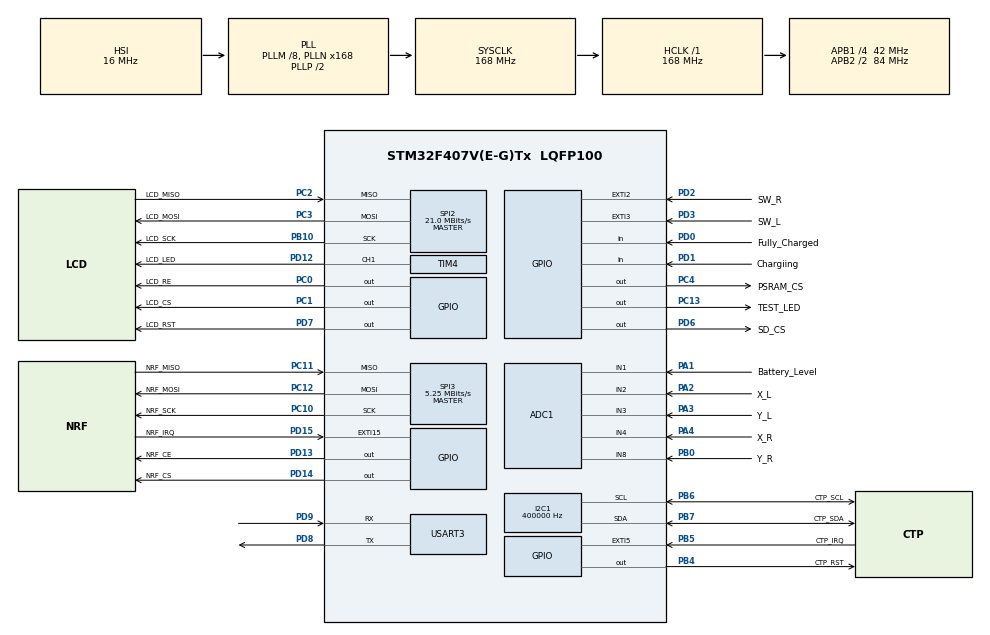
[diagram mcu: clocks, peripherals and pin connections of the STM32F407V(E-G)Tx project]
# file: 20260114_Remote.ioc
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ADC1.Channel-0\#ChannelRegularConversion=ADC_CHANNEL_1
ADC1.Channel-1\#ChannelRegularConversion=ADC_CHANNEL_2
ADC1.Channel-2\#ChannelRegularConversion=ADC_CHANNEL_3
ADC1.Channel-3\#ChannelRegularConversion=ADC_CHANNEL_4
ADC1.Channel-4\#ChannelRegularConversion=ADC_CHANNEL_8
ADC1.ContinuousConvMode=ENABLE
ADC1.DMAContinuousRequests=ENABLE
ADC1.DiscontinuousConvMode=DISABLE
ADC1.NbrOfConversion=5
ADC1.NbrOfConversionFlag=1
ADC1.Rank-0\#ChannelRegularConversion=1
ADC1.Rank-1\#ChannelRegularConversion=2
ADC1.Rank-2\#ChannelRegularConversion=3
ADC1.Rank-3\#ChannelRegularConversion=4
ADC1.Rank-4\#ChannelRegularConversion=5
ADC1.SamplingTime-0\#ChannelRegularConversion=ADC_SAMPLETIME_480CYCLES
ADC1.SamplingTime-1\#ChannelRegularConversion=ADC_SAMPLETIME_480CYCLES
ADC1.SamplingTime-2\#ChannelRegularConversion=ADC_SAMPLETIME_480CYCLES
ADC1.SamplingTime-3\#ChannelRegularConversion=ADC_SAMPLETIME_480CYCLES
ADC1.SamplingTime-4\#ChannelRegularConversion=ADC_SAMPLETIME_480CYCLES
ADC1.ScanConvMode=ENABLE
ADC1.master=1
Dma.ADC1.1.Direction=DMA_PERIPH_TO_MEMORY
Dma.ADC1.1.FIFOMode=DMA_FIFOMODE_DISABLE
Dma.ADC1.1.Instance=DMA2_Stream0
Dma.ADC1.1.MemDataAlignment=DMA_MDATAALIGN_HALFWORD
Dma.ADC1.1.MemInc=DMA_MINC_ENABLE
Dma.ADC1.1.Mode=DMA_CIRCULAR
Dma.ADC1.1.PeriphDataAlignment=DMA_PDATAALIGN_HALFWORD
Dma.ADC1.1.PeriphInc=DMA_PINC_DISABLE
Dma.ADC1.1.Priority=DMA_PRIORITY_LOW
Dma.I2C1_RX.3.Direction=DMA_PERIPH_TO_MEMORY
Dma.I2C1_RX.3.FIFOMode=DMA_FIFOMODE_DISABLE
Dma.I2C1_RX.3.Instance=DMA1_Stream0
Dma.I2C1_RX.3.MemDataAlignment=DMA_MDATAALIGN_BYTE
Dma.I2C1_RX.3.MemInc=DMA_MINC_ENABLE
Dma.I2C1_RX.3.Mode=DMA_NORMAL
Dma.I2C1_RX.3.PeriphDataAlignment=DMA_PDATAALIGN_BYTE
Dma.I2C1_RX.3.PeriphInc=DMA_PINC_DISABLE
Dma.I2C1_RX.3.Priority=DMA_PRIORITY_MEDIUM
Dma.I2C1_TX.2.Direction=DMA_MEMORY_TO_PERIPH
Dma.I2C1_TX.2.FIFOMode=DMA_FIFOMODE_DISABLE
Dma.I2C1_TX.2.Instance=DMA1_Stream6
Dma.I2C1_TX.2.MemDataAlignment=DMA_MDATAALIGN_BYTE
Dma.I2C1_TX.2.MemInc=DMA_MINC_ENABLE
Dma.I2C1_TX.2.Mode=DMA_NORMAL
Dma.I2C1_TX.2.PeriphDataAlignment=DMA_PDATAALIGN_BYTE
Dma.I2C1_TX.2.PeriphInc=DMA_PINC_DISABLE
Dma.I2C1_TX.2.Priority=DMA_PRIORITY_MEDIUM
Dma.Request0=SPI2_RX
Dma.Request1=ADC1
Dma.Request2=I2C1_TX
Dma.Request3=I2C1_RX
Dma.Request4=SPI2_TX
Dma.Request5=SPI3_RX
Dma.Request6=SPI3_TX
Dma.SPI2_RX.0.Direction=DMA_PERIPH_TO_MEMORY
Dma.SPI2_RX.0.FIFOMode=DMA_FIFOMODE_ENABLE
Dma.SPI2_RX.0.FIFOThreshold=DMA_FIFO_THRESHOLD_FULL
Dma.SPI2_RX.0.Instance=DMA1_Stream3
Dma.SPI2_RX.0.MemBurst=DMA_MBURST_INC16
Dma.SPI2_RX.0.MemDataAlignment=DMA_MDATAALIGN_BYTE
Dma.SPI2_RX.0.MemInc=DMA_MINC_ENABLE
Dma.SPI2_RX.0.Mode=DMA_NORMAL
Dma.SPI2_RX.0.PeriphBurst=DMA_PBURST_INC16
Dma.SPI2_RX.0.PeriphDataAlignment=DMA_PDATAALIGN_BYTE
Dma.SPI2_RX.0.PeriphInc=DMA_PINC_DISABLE
Dma.SPI2_RX.0.Priority=DMA_PRIORITY_LOW
Dma.SPI2_TX.4.Direction=DMA_MEMORY_TO_PERIPH
Dma.SPI2_TX.4.FIFOMode=DMA_FIFOMODE_DISABLE
Dma.SPI2_TX.4.Instance=DMA1_Stream4
Dma.SPI2_TX.4.MemDataAlignment=DMA_MDATAALIGN_BYTE
Dma.SPI2_TX.4.MemInc=DMA_MINC_ENABLE
Dma.SPI2_TX.4.Mode=DMA_NORMAL
Dma.SPI2_TX.4.PeriphDataAlignment=DMA_PDATAALIGN_BYTE
Dma.SPI2_TX.4.PeriphInc=DMA_PINC_DISABLE
Dma.SPI2_TX.4.Priority=DMA_PRIORITY_LOW
Dma.SPI3_RX.5.Direction=DMA_PERIPH_TO_MEMORY
Dma.SPI3_RX.5.FIFOMode=DMA_FIFOMODE_DISABLE
Dma.SPI3_RX.5.Instance=DMA1_Stream2
Dma.SPI3_RX.5.MemDataAlignment=DMA_MDATAALIGN_BYTE
Dma.SPI3_RX.5.MemInc=DMA_MINC_ENABLE
Dma.SPI3_RX.5.Mode=DMA_NORMAL
Dma.SPI3_RX.5.PeriphDataAlignment=DMA_PDATAALIGN_BYTE
Dma.SPI3_RX.5.PeriphInc=DMA_PINC_DISABLE
Dma.SPI3_RX.5.Priority=DMA_PRIORITY_VERY_HIGH
Dma.SPI3_TX.6.Direction=DMA_MEMORY_TO_PERIPH
Dma.SPI3_TX.6.FIFOMode=DMA_FIFOMODE_DISABLE
Dma.SPI3_TX.6.Instance=DMA1_Stream5
Dma.SPI3_TX.6.MemDataAlignment=DMA_MDATAALIGN_BYTE
Dma.SPI3_TX.6.MemInc=DMA_MINC_ENABLE
Dma.SPI3_TX.6.Mode=DMA_NORMAL
Dma.SPI3_TX.6.PeriphDataAlignment=DMA_PDATAALIGN_BYTE
Dma.SPI3_TX.6.PeriphInc=DMA_PINC_DISABLE
Dma.SPI3_TX.6.Priority=DMA_PRIORITY_VERY_HIGH
I2C1.ClockSpeed=400000
I2C1.I2C_Mode=I2C_Fast
I2C1.NoStretchMode=I2C_NOSTRETCH_ENABLE
Mcu.Family=STM32F4
Mcu.Name=STM32F407V(E-G)Tx
Mcu.Package=LQFP100
NVIC.DMA1_Stream0_IRQn=true\:0\:0\:false\:false\:true\:false\:true\:true
NVIC.DMA1_Stream2_IRQn=true\:0\:0\:false\:false\:true\:false\:true\:true
NVIC.DMA1_Stream3_IRQn=true\:0\:0\:false\:false\:true\:false\:true\:true
NVIC.DMA1_Stream4_IRQn=true\:0\:0\:false\:false\:true\:false\:true\:true
NVIC.DMA1_Stream5_IRQn=true\:0\:0\:false\:false\:true\:false\:true\:true
NVIC.DMA1_Stream6_IRQn=true\:0\:0\:false\:false\:true\:false\:true\:true
NVIC.DMA2_Stream0_IRQn=true\:0\:0\:false\:false\:true\:false\:true\:true
NVIC.EXTI15_10_IRQn=true\:1\:0\:true\:false\:true\:true\:true\:true
NVIC.EXTI2_IRQn=true\:13\:0\:true\:false\:true\:true\:true\:true
NVIC.EXTI3_IRQn=true\:14\:0\:true\:false\:true\:true\:true\:true
NVIC.EXTI9_5_IRQn=true\:12\:0\:true\:false\:true\:true\:true\:true
NVIC.PriorityGroup=NVIC_PRIORITYGROUP_4
NVIC.TIM7_IRQn=true\:0\:0\:false\:false\:true\:true\:true\:true
PA1.GPIO_Label=Battery_Level
PA1.Signal=ADCx_IN1
PA13.Mode=Serial_Wire
PA13.Signal=SYS_JTMS-SWDIO
PA14.Mode=Serial_Wire
PA14.Signal=SYS_JTCK-SWCLK
PA2.GPIO_Label=X_L
PA2.Signal=ADCx_IN2
PA3.GPIO_Label=Y_L
PA3.Signal=ADCx_IN3
PA4.GPIO_Label=X_R
PA4.GPIO_PuPd=GPIO_NOPULL
PA4.Signal=ADCx_IN4
PA5.GPIO_Label=PSRAM_SCK
PA5.Signal=SPI1_SCK
PA6.GPIO_Label=PSRAM_MISO
PA6.Signal=SPI1_MISO
PA7.GPIO_Label=PSRAM_MOSI
PA7.Signal=SPI1_MOSI
PB0.GPIO_Label=Y_R
PB0.Signal=ADCx_IN8
PB10.GPIO_Label=LCD_SCK
PB10.GPIO_PuPd=GPIO_PULLDOWN
PB10.Mode=Full_Duplex_Master
PB10.Signal=SPI2_SCK
PB4.GPIO_Label=CTP_RST
PB4.GPIO_PuPd=GPIO_PULLUP
PB4.PinState=GPIO_PIN_SET
PB4.Signal=GPIO_Output
PB5.GPIO_Label=CTP_IRQ
PB5.GPIO_ModeDefaultEXTI=GPIO_MODE_IT_RISING_FALLING
PB5.GPIO_PuPd=GPIO_PULLUP
PB5.Signal=GPXTI5
PB6.GPIO_Label=CTP_SCL
PB6.GPIO_Mode=GPIO_MODE_AF_OD
PB6.GPIO_Pu=GPIO_PULLUP
PB6.Mode=I2C
PB6.Signal=I2C1_SCL
PB7.GPIO_Label=CTP_SDA
PB7.GPIO_Pu=GPIO_PULLUP
PB7.Mode=I2C
PB7.Signal=I2C1_SDA
PC0.GPIO_Label=LCD_RE
PC0.GPIO_Speed=GPIO_SPEED_FREQ_VERY_HIGH
PC0.PinState=GPIO_PIN_SET
PC0.Signal=GPIO_Output
PC1.GPIO_Label=LCD_CS
PC1.GPIO_Speed=GPIO_SPEED_FREQ_VERY_HIGH
PC1.PinState=GPIO_PIN_SET
PC1.Signal=GPIO_Output
PC10.GPIO_Label=NRF_SCK
PC10.Mode=Full_Duplex_Master
PC10.Signal=SPI3_SCK
PC11.GPIO_Label=NRF_MISO
PC11.Mode=Full_Duplex_Master
PC11.Signal=SPI3_MISO
PC12.GPIO_Label=NRF_MOSI
PC12.Mode=Full_Duplex_Master
PC12.Signal=SPI3_MOSI
PC13-ANTI_TAMP.GPIO_Label=TEST_LED
PC13-ANTI_TAMP.GPIO_PuPd=GPIO_PULLUP
PC13-ANTI_TAMP.Signal=GPIO_Output
PC2.GPIO_Label=LCD_MISO
PC2.GPIO_PuPd=GPIO_PULLDOWN
PC2.Mode=Full_Duplex_Master
PC2.Signal=SPI2_MISO
PC3.GPIO_Label=LCD_MOSI
PC3.GPIO_PuPd=GPIO_PULLDOWN
PC3.Mode=Full_Duplex_Master
PC3.Signal=SPI2_MOSI
PC4.GPIO_Label=PSRAM_CS
PC4.Signal=GPIO_Output
PD0.GPIO_Label=Fully_Charged
PD0.GPIO_PuPd=GPIO_PULLUP
PD0.Signal=GPIO_Input
PD1.GPIO_Label=Chargiing
PD1.GPIO_PuPd=GPIO_PULLUP
PD1.Signal=GPIO_Input
PD12.GPIO_Label=LCD_LED
PD12.Signal=S_TIM4_CH1
PD13.GPIO_Label=NRF_CE
PD13.Signal=GPIO_Output
PD14.GPIO_Label=NRF_CS
PD14.Signal=GPIO_Output
PD15.GPIO_Label=NRF_IRQ
PD15.GPIO_ModeDefaultEXTI=GPIO_MODE_IT_FALLING
PD15.GPIO_PuPd=GPIO_PULLUP
PD15.Signal=GPXTI15
PD2.GPIO_Label=SW_R
PD2.GPIO_ModeDefaultEXTI=GPIO_MODE_IT_RISING_FALLING
PD2.GPIO_PuPd=GPIO_PULLUP
PD2.Signal=GPXTI2
PD3.GPIO_Label=SW_L
PD3.GPIO_ModeDefaultEXTI=GPIO_MODE_IT_RISING_FALLING
PD3.GPIO_PuPd=GPIO_PULLUP
PD3.Signal=GPXTI3
PD6.GPIO_Label=SD_CS
PD6.Signal=GPIO_Output
PD7.GPIO_Label=LCD_RST
PD7.GPIO_PuPd=GPIO_PULLUP
PD7.PinState=GPIO_PIN_SET
PD7.Signal=GPIO_Output
PD8.Mode=Asynchronous
PD8.Signal=USART3_TX
PD9.Mode=Asynchronous
PD9.Signal=USART3_RX
PH0-OSC_IN.Mode=HSE-External-Oscillator
PH0-OSC_IN.Signal=RCC_OSC_IN
PH1-OSC_OUT.Mode=HSE-External-Oscillator
PH1-OSC_OUT.Signal=RCC_OSC_OUT
ProjectManager.HeapSize=0x1000
ProjectManager.StackSize=0x1000
ProjectManager.TargetToolchain=STM32CubeIDE
RCC.48MHZClocksFreq_Value=84000000
RCC.AHBFreq_Value=168000000
RCC.APB1CLKDivider=RCC_HCLK_DIV4
RCC.APB1Freq_Value=42000000
RCC.APB1TimFreq_Value=84000000
RCC.APB2CLKDivider=RCC_HCLK_DIV2
RCC.APB2Freq_Value=84000000
RCC.APB2TimFreq_Value=168000000
RCC.CortexFreq_Value=168000000
RCC.HCLKFreq_Value=168000000
RCC.HSE_VALUE=25000000
RCC.HSI_VALUE=16000000
RCC.LSE_VALUE=32768
RCC.PLLM=8
RCC.PLLN=168
RCC.SYSCLKFreq_VALUE=168000000
RCC.SYSCLKSource=RCC_SYSCLKSOURCE_PLLCLK
RCC.VCOOutputFreq_Value=336000000
SH.ADCx_IN1.0=ADC1_IN1,IN1
SH.ADCx_IN2.0=ADC1_IN2,IN2
SH.ADCx_IN3.0=ADC1_IN3,IN3
SH.ADCx_IN4.0=ADC1_IN4,IN4
SH.ADCx_IN8.0=ADC1_IN8,IN8
SH.S_TIM4_CH1.0=TIM4_CH1,PWM Generation1 CH1
SPI2.BaudRatePrescaler=SPI_BAUDRATEPRESCALER_2
SPI2.CLKPolarity=SPI_POLARITY_LOW
SPI2.CalculateBaudRate=21.0 MBits/s
SPI2.Direction=SPI_DIRECTION_2LINES
SPI2.Mode=SPI_MODE_MASTER
SPI2.VirtualType=VM_MASTER
SPI3.BaudRatePrescaler=SPI_BAUDRATEPRESCALER_8
SPI3.CalculateBaudRate=5.25 MBits/s
SPI3.Direction=SPI_DIRECTION_2LINES
SPI3.Mode=SPI_MODE_MASTER
SPI3.VirtualType=VM_MASTER
TIM4.Channel-PWM\ Generation1\ CH1=TIM_CHANNEL_1
TIM4.Period=15
TIM4.Prescaler=83
TIM7.Period=999
TIM7.Prescaler=83
USART3.Parity=PARITY_NONE
USART3.VirtualMode=VM_ASYNC
VP_TIM4_VS_ClockSourceINT.Mode=Internal
VP_TIM7_VS_ClockSourceINT.Mode=Enable_Timer
board=custom

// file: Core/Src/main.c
/* USER CODE BEGIN Header */
/**
  ******************************************************************************
  * @file           : main.c
  * @brief          : Main program body
  ******************************************************************************
  * @attention
  *
  * Copyright (c) 2026 STMicroelectronics.
  * All rights reserved.
  *
  * This software is licensed under terms that can be found in the LICENSE file
  * in the root directory of this software component.
  * If no LICENSE file comes with this software, it is provided AS-IS.
  *
  ******************************************************************************
  */
/* USER CODE END Header */
#include "main.h"
#include "adc.h"
#include "dma.h"
#include "i2c.h"
#include "spi.h"
#include "tim.h"
#include "usart.h"
#include "gpio.h"

/* USER CODE BEGIN Includes */
#include "../../Screen_Driver/LCD.h"
#include "../../Screen_Driver/FT6336G.h"
#include "../../Hardware/UART.h"
#include "../../Hardware/NRF24l01.h"
#include "../../Hardware/ADC.h"
#include "../../lvgl/lvgl.h"
#include "../../lvgl/demos/benchmark/lv_demo_benchmark.h"
#include "../../lvgl/demos/music/lv_demo_music.h"
#include "../../lvgl/demos/widgets/lv_demo_widgets.h"
#include "../../lvgl/examples/porting/lv_port_disp.h"
#include "../../lvgl/examples/porting/lv_port_indev.h"
#include "../../lvgl/GUI/GUI.h"
/* USER CODE END Includes */

void SystemClock_Config(void);

int main(void)
{

  /* MCU Configuration--------------------------------------------------------*/

  /* Reset of all peripherals, Initializes the Flash interface and the Systick. */
  HAL_Init();

  /* Configure the system clock */
  SystemClock_Config();

  /* USER CODE BEGIN SysInit */
  __HAL_RCC_DAC_CLK_DISABLE();
  __HAL_RCC_SPI1_CLK_DISABLE();
  /* USER CODE END SysInit */

  /* Initialize all configured peripherals */
  MX_GPIO_Init();
  MX_DMA_Init();
  MX_ADC1_Init();
  MX_I2C1_Init();
  MX_SPI2_Init();
  MX_TIM4_Init();
  MX_TIM7_Init();
  MX_SPI3_Init();
  MX_USART3_UART_Init();
  /* USER CODE BEGIN 2 */
  Log_Init();
  ADC_Init();
  lv_init();
  lv_port_disp_init();
  lv_port_indev_init();
  my_gui_test();
  NRF24L01_Init();
  static uint32_t lasttime = 0;
  /* USER CODE END 2 */

  /* Infinite loop */
  /* USER CODE BEGIN WHILE */
  while (1)
  {

	  lv_timer_handler();
	  Battery_Percentage_Get();
	  log_send_loop();
	  /////////////////////////////////////////////////////
	  if(HAL_GetTick() > lasttime + 200){
		  lasttime = HAL_GetTick();
		  uint8_t sendData[8] = {0};
		  sendData[0] = (uint8_t)((param.Joystick_LX & 0xFF00) >> 8);
		  sendData[1] = (uint8_t)(param.Joystick_LX & 0xFF);
		  sendData[2] = (uint8_t)((param.Joystick_LY & 0xFF00) >> 8);
		  sendData[3] = (uint8_t)(param.Joystick_LY & 0xFF);
		  sendData[4] = (uint8_t)((param.Joystick_RX & 0xFF00) >> 8);
		  sendData[5] = (uint8_t)(param.Joystick_RX & 0xFF);
		  sendData[6] = (uint8_t)((param.Joystick_RY & 0xFF00) >> 8);
		  sendData[7] = (uint8_t)(param.Joystick_RY & 0xFF);
		  NRF24L01_SendDatas(0xAA,8,sendData);
	  }
	  ////////////////////////////////////////////////////
	  //NRF24L01_ProcessRxData();
    /* USER CODE END WHILE */

  }
}

void SystemClock_Config(void)
{
  RCC_OscInitTypeDef RCC_OscInitStruct = {0};
  RCC_ClkInitTypeDef RCC_ClkInitStruct = {0};

  /** Configure the main internal regulator output voltage
  */
  __HAL_RCC_PWR_CLK_ENABLE();
  __HAL_PWR_VOLTAGESCALING_CONFIG(PWR_REGULATOR_VOLTAGE_SCALE1);

  /** Initializes the RCC Oscillators according to the specified parameters
  * in the RCC_OscInitTypeDef structure.
  */
  RCC_OscInitStruct.OscillatorType = RCC_OSCILLATORTYPE_HSI;
  RCC_OscInitStruct.HSIState = RCC_HSI_ON;
  RCC_OscInitStruct.HSICalibrationValue = RCC_HSICALIBRATION_DEFAULT;
  RCC_OscInitStruct.PLL.PLLState = RCC_PLL_ON;
  RCC_OscInitStruct.PLL.PLLSource = RCC_PLLSOURCE_HSI;
  RCC_OscInitStruct.PLL.PLLM = 8;
  RCC_OscInitStruct.PLL.PLLN = 168;
  RCC_OscInitStruct.PLL.PLLP = RCC_PLLP_DIV2;
  RCC_OscInitStruct.PLL.PLLQ = 4;
  if (HAL_RCC_OscConfig(&RCC_OscInitStruct) != HAL_OK)
  {
    Error_Handler();
  }

  /** Initializes the CPU, AHB and APB buses clocks
  */
  RCC_ClkInitStruct.ClockType = RCC_CLOCKTYPE_HCLK|RCC_CLOCKTYPE_SYSCLK
                              |RCC_CLOCKTYPE_PCLK1|RCC_CLOCKTYPE_PCLK2;
  RCC_ClkInitStruct.SYSCLKSource = RCC_SYSCLKSOURCE_PLLCLK;
  RCC_ClkInitStruct.AHBCLKDivider = RCC_SYSCLK_DIV1;
  RCC_ClkInitStruct.APB1CLKDivider = RCC_HCLK_DIV4;
  RCC_ClkInitStruct.APB2CLKDivider = RCC_HCLK_DIV2;

  if (HAL_RCC_ClockConfig(&RCC_ClkInitStruct, FLASH_LATENCY_5) != HAL_OK)
  {
    Error_Handler();
  }
}

/* USER CODE BEGIN 4 */
/*
 * @brief  外部中断回调函数
 * */
void HAL_GPIO_EXTI_Callback(uint16_t GPIO_Pin){
	FT6336G_EXTI_Callback(GPIO_Pin);
	NRF_EXTI_Callback(GPIO_Pin);
	Joystick_Swich_EXTI_Callback(GPIO_Pin);
}
/*
 * @brief  定时器中断回调函数
 * */
void HAL_TIM_PeriodElapsedCallback(TIM_HandleTypeDef *htim) {
    if (htim->Instance == TIM7) {
    }
}

/* USER CODE END 4 */

void Error_Handler(void)
{
  __disable_irq();
  while (1)
  {
  }
}
